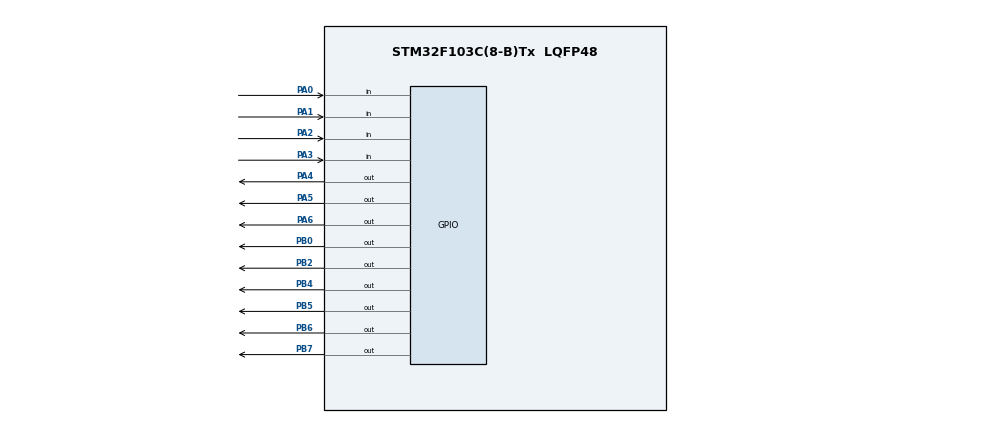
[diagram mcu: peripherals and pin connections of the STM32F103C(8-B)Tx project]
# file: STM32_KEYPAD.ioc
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Mcu.Family=STM32F1
Mcu.Name=STM32F103C(8-B)Tx
Mcu.Package=LQFP48
NVIC.PriorityGroup=NVIC_PRIORITYGROUP_4
PA0-WKUP.GPIO_Mode=GPIO_MODE_INPUT
PA0-WKUP.GPIO_PuPd=GPIO_PULLUP
PA0-WKUP.Signal=GPIO_Input
PA1.GPIO_Mode=GPIO_MODE_INPUT
PA1.GPIO_PuPd=GPIO_PULLUP
PA1.Signal=GPIO_Input
PA13.Mode=Serial_Wire
PA13.Signal=SYS_JTMS-SWDIO
PA14.Mode=Serial_Wire
PA14.Signal=SYS_JTCK-SWCLK
PA2.GPIO_Mode=GPIO_MODE_INPUT
PA2.GPIO_PuPd=GPIO_PULLUP
PA2.Signal=GPIO_Input
PA3.GPIO_Mode=GPIO_MODE_INPUT
PA3.GPIO_PuPd=GPIO_PULLUP
PA3.Signal=GPIO_Input
PA4.GPIO_ModeDefaultOutputPP=GPIO_MODE_OUTPUT_PP
PA4.GPIO_PuPd=GPIO_NOPULL
PA4.GPIO_Speed=GPIO_SPEED_FREQ_LOW
PA4.PinState=GPIO_PIN_SET
PA4.Signal=GPIO_Output
PA5.GPIO_ModeDefaultOutputPP=GPIO_MODE_OUTPUT_PP
PA5.GPIO_PuPd=GPIO_NOPULL
PA5.GPIO_Speed=GPIO_SPEED_FREQ_LOW
PA5.PinState=GPIO_PIN_SET
PA5.Signal=GPIO_Output
PA6.GPIO_ModeDefaultOutputPP=GPIO_MODE_OUTPUT_PP
PA6.GPIO_PuPd=GPIO_NOPULL
PA6.GPIO_Speed=GPIO_SPEED_FREQ_LOW
PA6.PinState=GPIO_PIN_SET
PA6.Signal=GPIO_Output
PB0.GPIO_ModeDefaultOutputPP=GPIO_MODE_OUTPUT_PP
PB0.GPIO_PuPd=GPIO_NOPULL
PB0.GPIO_Speed=GPIO_SPEED_FREQ_LOW
PB0.PinState=GPIO_PIN_RESET
PB0.Signal=GPIO_Output
PB2.GPIO_ModeDefaultOutputPP=GPIO_MODE_OUTPUT_PP
PB2.GPIO_PuPd=GPIO_NOPULL
PB2.GPIO_Speed=GPIO_SPEED_FREQ_LOW
PB2.PinState=GPIO_PIN_RESET
PB2.Signal=GPIO_Output
PB4.GPIO_ModeDefaultOutputPP=GPIO_MODE_OUTPUT_PP
PB4.GPIO_PuPd=GPIO_NOPULL
PB4.GPIO_Speed=GPIO_SPEED_FREQ_LOW
PB4.PinState=GPIO_PIN_RESET
PB4.Signal=GPIO_Output
PB5.GPIO_ModeDefaultOutputPP=GPIO_MODE_OUTPUT_PP
PB5.GPIO_PuPd=GPIO_NOPULL
PB5.GPIO_Speed=GPIO_SPEED_FREQ_LOW
PB5.PinState=GPIO_PIN_RESET
PB5.Signal=GPIO_Output
PB6.GPIO_ModeDefaultOutputPP=GPIO_MODE_OUTPUT_PP
PB6.GPIO_PuPd=GPIO_NOPULL
PB6.GPIO_Speed=GPIO_SPEED_FREQ_LOW
PB6.PinState=GPIO_PIN_RESET
PB6.Signal=GPIO_Output
PB7.GPIO_ModeDefaultOutputPP=GPIO_MODE_OUTPUT_PP
PB7.GPIO_PuPd=GPIO_NOPULL
PB7.GPIO_Speed=GPIO_SPEED_FREQ_LOW
PB7.PinState=GPIO_PIN_RESET
PB7.Signal=GPIO_Output
PD0-OSC_IN.Mode=HSE-External-Oscillator
PD0-OSC_IN.Signal=RCC_OSC_IN
PD1-OSC_OUT.Mode=HSE-External-Oscillator
PD1-OSC_OUT.Signal=RCC_OSC_OUT
ProjectManager.HeapSize=0x200
ProjectManager.StackSize=0x400
ProjectManager.TargetToolchain=MDK-ARM V5.27
RCC.APB1Freq_Value=8000000
RCC.APB2Freq_Value=8000000
RCC.SYSCLKSource=RCC_SYSCLKSOURCE_HSE
board=custom

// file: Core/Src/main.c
/* USER CODE BEGIN Header */
/**
  ******************************************************************************
  * @file           : main.c
  * @brief          : Main program body
  ******************************************************************************
  * @attention
  *
  * <h2><center>&copy; Copyright (c) 2021 STMicroelectronics.
  * All rights reserved.</center></h2>
  *
  * This software component is licensed by ST under BSD 3-Clause license,
  * the "License"; You may not use this file except in compliance with the
  * License. You may obtain a copy of the License at:
  *                        opensource.org/licenses/BSD-3-Clause
  *
  ******************************************************************************
  */
/* USER CODE END Header */
#include "main.h"

/* USER CODE BEGIN Includes */
#include "KEYPAD.h"
#include "CLCD.h"
#include <stdio.h>
#include <string.h>
/* USER CODE END Includes */

/* USER CODE BEGIN PV */
	CLCD_Name LCD1;
	KEYPAD_Name KeyPad;
	char KEYMAP[NUMROWS][NUMCOLS] = {
	{'1','2','3'},
	{'4','5','6'},
	{'7','8','9'},
	{'*','0','#'}
	};
	char Key;

	// Application Password
	char CurrentPass[6] = "123456";
	char EnterPass[6] = "";
/* USER CODE END PV */

void SystemClock_Config(void);
static void MX_GPIO_Init(void);
/* USER CODE BEGIN PFP */
int CompareString(char str1[], char str2[]);
/* USER CODE END PFP */

int main(void)
{

  /* MCU Configuration--------------------------------------------------------*/

  /* Reset of all peripherals, Initializes the Flash interface and the Systick. */
  HAL_Init();

  /* Configure the system clock */
  SystemClock_Config();

  /* Initialize all configured peripherals */
  MX_GPIO_Init();
  /* USER CODE BEGIN 2 */
	CLCD_4BIT_Init(&LCD1, 16, 2, GPIOB, GPIO_PIN_0, GPIOB, GPIO_PIN_2,
									GPIOB, GPIO_PIN_4, GPIOB, GPIO_PIN_5,
									GPIOB, GPIO_PIN_6, GPIOB, GPIO_PIN_7);

	KEYPAD3X4_Init(&KeyPad, KEYMAP, GPIOA, GPIO_PIN_4, GPIOA, GPIO_PIN_5,
                                    GPIOA, GPIO_PIN_6,
									GPIOA, GPIO_PIN_0, GPIOA, GPIO_PIN_1,
									GPIOA, GPIO_PIN_2, GPIOA, GPIO_PIN_3);
  /* USER CODE END 2 */

  /* Infinite loop */
  while (1)
  {

    /* USER CODE BEGIN 3 */
		CLCD_Clear(&LCD1);
		int i = 0;
		CLCD_SetCursor(&LCD1, 0, 0);
		CLCD_WriteString(&LCD1,"Welcome home");

		CLCD_SetCursor(&LCD1, 0, 1);
		do
		{
				Key = KEYPAD3X4_Readkey(&KeyPad);
				if (Key >= 0x30 && Key <= 0x39)
				{
					CLCD_WriteChar(&LCD1, Key);
					EnterPass[i] = Key;
					i++;
				}
		} while (Key == 0 || (Key >= 0x30 && Key <= 0x39 && i < 6));
		HAL_Delay(200);
		if (CompareString(EnterPass, CurrentPass))
		{
			CLCD_Clear(&LCD1);
			CLCD_SetCursor(&LCD1, 0, 0);
			CLCD_WriteString(&LCD1, "    ALRIGHT");
			CLCD_SetCursor(&LCD1, 0, 1);
			CLCD_WriteString(&LCD1, "Nice to meet you");
		}
		else
		{
			CLCD_Clear(&LCD1);
			CLCD_SetCursor(&LCD1, 0, 0);
			CLCD_WriteString(&LCD1, "      WRONG");
			CLCD_SetCursor(&LCD1, 0, 1);
			CLCD_WriteString(&LCD1, " Enter Password ");
		}
		HAL_Delay(2000);
  }
  /* USER CODE END 3 */
}

void SystemClock_Config(void)
{
  RCC_OscInitTypeDef RCC_OscInitStruct = {0};
  RCC_ClkInitTypeDef RCC_ClkInitStruct = {0};

  /** Initializes the RCC Oscillators according to the specified parameters
  * in the RCC_OscInitTypeDef structure.
  */
  RCC_OscInitStruct.OscillatorType = RCC_OSCILLATORTYPE_HSE;
  RCC_OscInitStruct.HSEState = RCC_HSE_ON;
  RCC_OscInitStruct.PLL.PLLState = RCC_PLL_NONE;
  if (HAL_RCC_OscConfig(&RCC_OscInitStruct) != HAL_OK)
  {
    Error_Handler();
  }
  /** Initializes the CPU, AHB and APB buses clocks
  */
  RCC_ClkInitStruct.ClockType = RCC_CLOCKTYPE_HCLK|RCC_CLOCKTYPE_SYSCLK
                              |RCC_CLOCKTYPE_PCLK1|RCC_CLOCKTYPE_PCLK2;
  RCC_ClkInitStruct.SYSCLKSource = RCC_SYSCLKSOURCE_HSE;
  RCC_ClkInitStruct.AHBCLKDivider = RCC_SYSCLK_DIV1;
  RCC_ClkInitStruct.APB1CLKDivider = RCC_HCLK_DIV1;
  RCC_ClkInitStruct.APB2CLKDivider = RCC_HCLK_DIV1;

  if (HAL_RCC_ClockConfig(&RCC_ClkInitStruct, FLASH_LATENCY_0) != HAL_OK)
  {
    Error_Handler();
  }
}

static void MX_GPIO_Init(void)
{
  GPIO_InitTypeDef GPIO_InitStruct = {0};

  /* GPIO Ports Clock Enable */
  __HAL_RCC_GPIOD_CLK_ENABLE();
  __HAL_RCC_GPIOA_CLK_ENABLE();
  __HAL_RCC_GPIOB_CLK_ENABLE();

  /*Configure GPIO pin Output Level */
  HAL_GPIO_WritePin(GPIOA, GPIO_PIN_4|GPIO_PIN_5|GPIO_PIN_6, GPIO_PIN_SET);

  /*Configure GPIO pin Output Level */
  HAL_GPIO_WritePin(GPIOB, GPIO_PIN_0|GPIO_PIN_2|GPIO_PIN_4|GPIO_PIN_5
                          |GPIO_PIN_6|GPIO_PIN_7, GPIO_PIN_RESET);

  /*Configure GPIO pins : PA0 PA1 PA2 PA3 */
  GPIO_InitStruct.Pin = GPIO_PIN_0|GPIO_PIN_1|GPIO_PIN_2|GPIO_PIN_3;
  GPIO_InitStruct.Mode = GPIO_MODE_INPUT;
  GPIO_InitStruct.Pull = GPIO_PULLUP;
  HAL_GPIO_Init(GPIOA, &GPIO_InitStruct);

  /*Configure GPIO pins : PA4 PA5 PA6 */
  GPIO_InitStruct.Pin = GPIO_PIN_4|GPIO_PIN_5|GPIO_PIN_6;
  GPIO_InitStruct.Mode = GPIO_MODE_OUTPUT_PP;
  GPIO_InitStruct.Pull = GPIO_NOPULL;
  GPIO_InitStruct.Speed = GPIO_SPEED_FREQ_LOW;
  HAL_GPIO_Init(GPIOA, &GPIO_InitStruct);

  /*Configure GPIO pins : PB0 PB2 PB4 PB5
                           PB6 PB7 */
  GPIO_InitStruct.Pin = GPIO_PIN_0|GPIO_PIN_2|GPIO_PIN_4|GPIO_PIN_5
                          |GPIO_PIN_6|GPIO_PIN_7;
  GPIO_InitStruct.Mode = GPIO_MODE_OUTPUT_PP;
  GPIO_InitStruct.Pull = GPIO_NOPULL;
  GPIO_InitStruct.Speed = GPIO_SPEED_FREQ_LOW;
  HAL_GPIO_Init(GPIOB, &GPIO_InitStruct);

}

/* USER CODE BEGIN 4 */
int CompareString(char str1[], char str2[])
{
	for (int i = 0; i <6; i++)
	{
		if (str1[i] != str2[i])
		{
			return 0;
		}
	}
	return 1;
}
/* USER CODE END 4 */

void Error_Handler(void)
{
  __disable_irq();
  while (1)
  {
  }
}

/************************ (C) COPYRIGHT STMicroelectronics *****END OF FILE****/
